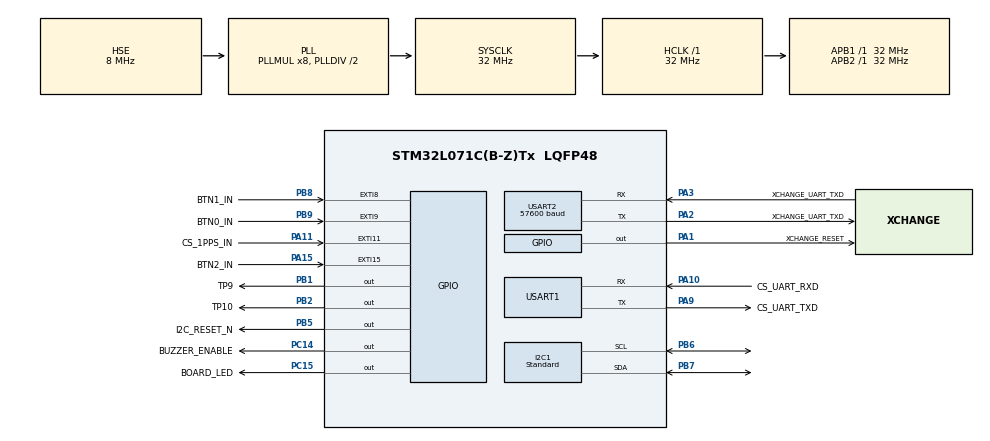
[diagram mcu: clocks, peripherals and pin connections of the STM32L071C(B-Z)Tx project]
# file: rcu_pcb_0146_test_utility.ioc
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FREERTOS.Queues01=ledEventQueue,32,uint32_t,0,Dynamic,NULL,NULL;serialCmdTaskRxData,128,uint32_t,0,Dynamic,NULL,NULL;serialCmdTaskTxData,512,uint32_t,0,Dynamic,NULL,NULL;serialRxEvent,128,uint32_t,0,Dynamic,NULL,NULL;serialEchoTaskRxData,32,uint32_t,0,Dynamic,NULL,NULL;serialEchoTaskTxData,32,uint32_t,0,Dynamic,NULL,NULL
FREERTOS.Tasks01=defaultTask,0,128,StartDefaultTask,Default,NULL,Dynamic,NULL,NULL;serialBufferTask,0,256,sbt_SerialBufferTask,As external,NULL,Dynamic,NULL,NULL;serialCmdTaskHandle,-2,512,sct_SerialCmdTask,As external,NULL,Dynamic,NULL,NULL;serialEchoTaskHandle,-2,256,set_SerialEchoTask,As external,NULL,Dynamic,NULL,NULL;ledTask,-3,256,led_Task,As external,NULL,Dynamic,NULL,NULL
FREERTOS.configMAX_TASK_NAME_LEN=32
FREERTOS.configTOTAL_HEAP_SIZE=12000
I2C1.I2C_Speed_Mode=I2C_Standard
I2C1.Timing=0x00707CBB
Mcu.Family=STM32L0
Mcu.Name=STM32L071C(B-Z)Tx
Mcu.Package=LQFP48
Mcu.UserConstants=MAIN_TIM3_PRESCALER,512;MAIN_TIM3_500_MS_COUNT,31250
NVIC.EXTI4_15_IRQn=true\:3\:0\:false\:false\:true\:true\:true\:true
NVIC.TIM22_IRQn=true\:0\:0\:false\:false\:true\:false\:false\:true
NVIC.TIM3_IRQn=true\:3\:0\:false\:false\:true\:true\:true\:true
NVIC.TimeBase=TIM22_IRQn
NVIC.TimeBaseIP=TIM22
NVIC.USART1_IRQn=true\:3\:0\:false\:false\:true\:true\:true\:true
NVIC.USART2_IRQn=true\:3\:0\:false\:false\:true\:true\:true\:true
PA1.GPIO_Label=XCHANGE_RESET
PA1.Signal=GPIO_Output
PA10.GPIO_Label=CS_UART_RXD
PA10.Mode=Asynchronous
PA10.Signal=USART1_RX
PA11.GPIO_Label=CS_1PPS_IN
PA11.Signal=GPXTI11
PA13.Mode=Serial_Wire
PA13.Signal=SYS_SWDIO
PA14.Mode=Serial_Wire
PA14.Signal=SYS_SWCLK
PA15.GPIO_Label=BTN2_IN
PA15.GPIO_ModeDefaultEXTI=GPIO_MODE_IT_FALLING
PA15.Signal=GPXTI15
PA2.GPIO_Label=XCHANGE_UART_TXD
PA2.Mode=Asynchronous
PA2.Signal=USART2_TX
PA3.GPIO_Label=XCHANGE_UART_TXD
PA3.Mode=Asynchronous
PA3.Signal=USART2_RX
PA9.GPIO_Label=CS_UART_TXD
PA9.Mode=Asynchronous
PA9.Signal=USART1_TX
PB1.GPIO_Label=TP9
PB1.Signal=GPIO_Output
PB2.GPIO_Label=TP10
PB2.Signal=GPIO_Output
PB5.GPIO_Label=I2C_RESET_N
PB5.PinState=GPIO_PIN_RESET
PB5.Signal=GPIO_Output
PB6.GPIO_PuPdOD=GPIO_NOPULL
PB6.Mode=I2C
PB6.Signal=I2C1_SCL
PB7.GPIO_PuPdOD=GPIO_NOPULL
PB7.Mode=I2C
PB7.Signal=I2C1_SDA
PB8.GPIO_Label=BTN1_IN
PB8.GPIO_ModeDefaultEXTI=GPIO_MODE_IT_FALLING
PB8.Signal=GPXTI8
PB9.GPIO_Label=BTN0_IN
PB9.GPIO_ModeDefaultEXTI=GPIO_MODE_IT_FALLING
PB9.Signal=GPXTI9
PC14-OSC32_IN.GPIO_Label=BUZZER_ENABLE
PC14-OSC32_IN.Signal=GPIO_Output
PC15-OSC32_OUT.GPIO_Label=BOARD_LED
PC15-OSC32_OUT.Signal=GPIO_Output
PH0-OSC_IN.Mode=HSE-External-Clock-Source
PH0-OSC_IN.Signal=RCC_OSC_IN
ProjectManager.HeapSize=0x200
ProjectManager.StackSize=0x400
ProjectManager.TargetToolchain=STM32CubeIDE
RCC.AHBFreq_Value=32000000
RCC.APB1Freq_Value=32000000
RCC.APB1TimFreq_Value=32000000
RCC.APB2Freq_Value=32000000
RCC.APB2TimFreq_Value=32000000
RCC.HCLKFreq_Value=32000000
RCC.HSE_VALUE=8000000
RCC.HSI16_VALUE=16000000
RCC.HSI_VALUE=16000000
RCC.LSE_VALUE=32768
RCC.MSI_VALUE=2097000
RCC.PLLMUL=RCC_PLLMUL_8
RCC.PLLSourceVirtual=RCC_PLLSOURCE_HSE
RCC.SYSCLKFreq_VALUE=32000000
RCC.SYSCLKSource=RCC_SYSCLKSOURCE_PLLCLK
RCC.VCOOutputFreq_Value=64000000
TIM3.AutoReloadPreload=TIM_AUTORELOAD_PRELOAD_ENABLE
TIM3.Period=MAIN_TIM3_500_MS_COUNT
TIM3.Prescaler=MAIN_TIM3_PRESCALER
USART1.VirtualMode-Asynchronous=VM_ASYNC
USART2.BaudRate=57600
USART2.VirtualMode-Asynchronous=VM_ASYNC
VP_FREERTOS_VS_CMSIS_V1.Mode=CMSIS_V1
VP_SYS_VS_tim22.Mode=TIM22
VP_TIM3_VS_ClockSourceINT.Mode=Internal
board=custom

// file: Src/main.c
/* USER CODE BEGIN Header */
/**
  ******************************************************************************
  * @file           : main.c
  * @brief          : Main program body
  ******************************************************************************
  * @attention
  *
  * <h2><center>&copy; Copyright (c) 2019 STMicroelectronics.
  * All rights reserved.</center></h2>
  *
  * This software component is licensed by ST under BSD 3-Clause license,
  * the "License"; You may not use this file except in compliance with the
  * License. You may obtain a copy of the License at:
  *                        opensource.org/licenses/BSD-3-Clause
  *
  ******************************************************************************
  */
/* USER CODE END Header */

#include "main.h"
#include "cmsis_os.h"

/* USER CODE BEGIN Includes */
#include "serial_buffer_task.h"
#include "serial_cmd_task.h"
#include "serial_echo_task.h"
#include "led_task.h"
/* USER CODE END Includes */

I2C_HandleTypeDef hi2c1;

TIM_HandleTypeDef htim3;

UART_HandleTypeDef huart1;
UART_HandleTypeDef huart2;

osThreadId defaultTaskHandle;
osThreadId serialBufferTaskHandle;
osThreadId serialCmdTaskHandleHandle;
osThreadId serialEchoTaskHandleHandle;
osThreadId ledTaskHandle;
osMessageQId ledEventQueueHandle;
osMessageQId serialCmdTaskRxDataHandle;
osMessageQId serialCmdTaskTxDataHandle;
osMessageQId serialRxEventHandle;
osMessageQId serialEchoTaskRxDataHandle;
osMessageQId serialEchoTaskTxDataHandle;

void SystemClock_Config(void);
static void MX_GPIO_Init(void);
static void MX_I2C1_Init(void);
static void MX_USART1_UART_Init(void);
static void MX_USART2_UART_Init(void);
static void MX_TIM3_Init(void);
void StartDefaultTask(void const * argument);
extern void sbt_SerialBufferTask(void const * argument);
extern void sct_SerialCmdTask(void const * argument);
extern void set_SerialEchoTask(void const * argument);
extern void led_Task(void const * argument);

int main(void)
{
  /* USER CODE BEGIN 1 */
	sct_Init_t sct_init_data;
	set_Init_t set_init_data;
	sbt_Init_t sbt_init_data;
	led_Init_t led_init_data;
  /* USER CODE END 1 */

  /* MCU Configuration--------------------------------------------------------*/

  /* Reset of all peripherals, Initializes the Flash interface and the Systick. */
  HAL_Init();

  /* Configure the system clock */
  SystemClock_Config();

  /* Initialize all configured peripherals */
  MX_GPIO_Init();
  MX_I2C1_Init();
  MX_USART1_UART_Init();
  MX_USART2_UART_Init();
  MX_TIM3_Init();

  /* Create the queue(s) */
  /* definition and creation of ledEventQueue */
  osMessageQDef(ledEventQueue, 32, uint32_t);
  ledEventQueueHandle = osMessageCreate(osMessageQ(ledEventQueue), NULL);

  /* definition and creation of serialCmdTaskRxData */
  osMessageQDef(serialCmdTaskRxData, 128, uint32_t);
  serialCmdTaskRxDataHandle = osMessageCreate(osMessageQ(serialCmdTaskRxData), NULL);

  /* definition and creation of serialCmdTaskTxData */
  osMessageQDef(serialCmdTaskTxData, 512, uint32_t);
  serialCmdTaskTxDataHandle = osMessageCreate(osMessageQ(serialCmdTaskTxData), NULL);

  /* definition and creation of serialRxEvent */
  osMessageQDef(serialRxEvent, 128, uint32_t);
  serialRxEventHandle = osMessageCreate(osMessageQ(serialRxEvent), NULL);

  /* definition and creation of serialEchoTaskRxData */
  osMessageQDef(serialEchoTaskRxData, 32, uint32_t);
  serialEchoTaskRxDataHandle = osMessageCreate(osMessageQ(serialEchoTaskRxData), NULL);

  /* definition and creation of serialEchoTaskTxData */
  osMessageQDef(serialEchoTaskTxData, 32, uint32_t);
  serialEchoTaskTxDataHandle = osMessageCreate(osMessageQ(serialEchoTaskTxData), NULL);

  /* Create the thread(s) */
  /* definition and creation of defaultTask */
  osThreadDef(defaultTask, StartDefaultTask, osPriorityNormal, 0, 128);
  defaultTaskHandle = osThreadCreate(osThread(defaultTask), NULL);

  /* definition and creation of serialBufferTask */
  osThreadDef(serialBufferTask, sbt_SerialBufferTask, osPriorityNormal, 0, 256);
  serialBufferTaskHandle = osThreadCreate(osThread(serialBufferTask), NULL);

  /* definition and creation of serialCmdTaskHandle */
  osThreadDef(serialCmdTaskHandle, sct_SerialCmdTask, osPriorityLow, 0, 512);
  serialCmdTaskHandleHandle = osThreadCreate(osThread(serialCmdTaskHandle), NULL);

  /* definition and creation of serialEchoTaskHandle */
  osThreadDef(serialEchoTaskHandle, set_SerialEchoTask, osPriorityLow, 0, 256);
  serialEchoTaskHandleHandle = osThreadCreate(osThread(serialEchoTaskHandle), NULL);

  /* definition and creation of ledTask */
  osThreadDef(ledTask, led_Task, osPriorityIdle, 0, 256);
  ledTaskHandle = osThreadCreate(osThread(ledTask), NULL);

  /* USER CODE BEGIN RTOS_THREADS */
  /* add threads, ... */
  sbt_init_data.rx_event_queue				= serialRxEventHandle;
  sbt_init_data.no_uarts					= 2;
  sbt_init_data.uarts[0].huart 				= &huart2;
  sbt_init_data.uarts[0].uart_rx_data_queue	= serialEchoTaskRxDataHandle;
  sbt_init_data.uarts[0].uart_tx_data_queue = serialEchoTaskTxDataHandle;
  sbt_init_data.uarts[1].huart 				= &huart1;
  sbt_init_data.uarts[1].uart_rx_data_queue	= serialCmdTaskRxDataHandle;
  sbt_init_data.uarts[1].uart_tx_data_queue	= serialCmdTaskTxDataHandle;
  sbt_InitTask(sbt_init_data);

  sct_init_data.tx_data_queue 	= serialCmdTaskTxDataHandle;
  sct_init_data.rx_data_queue 	= serialCmdTaskRxDataHandle;
  sct_init_data.i2c_device		= &hi2c1;
  sct_InitTask(sct_init_data);

  set_init_data.tx_data_queue 	= serialEchoTaskTxDataHandle;
  set_init_data.rx_data_queue 	= serialEchoTaskRxDataHandle;
  set_InitTask(set_init_data);

  led_init_data.led_event_queue	= ledEventQueueHandle;
  led_init_data.i2c_device		= &hi2c1;
  led_init_data.timer_device	= &htim3;
  led_InitTask(led_init_data);

  // add LED task initialisation

  /* USER CODE END RTOS_THREADS */

  /* Start scheduler */
  osKernelStart();

  /* We should never get here as control is now taken by the scheduler */
  /* Infinite loop */
  while (1)
  {

  }
}

void SystemClock_Config(void)
{
  RCC_OscInitTypeDef RCC_OscInitStruct = {0};
  RCC_ClkInitTypeDef RCC_ClkInitStruct = {0};
  RCC_PeriphCLKInitTypeDef PeriphClkInit = {0};

  /** Configure the main internal regulator output voltage
  */
  __HAL_PWR_VOLTAGESCALING_CONFIG(PWR_REGULATOR_VOLTAGE_SCALE1);
  /** Initializes the CPU, AHB and APB busses clocks
  */
  RCC_OscInitStruct.OscillatorType = RCC_OSCILLATORTYPE_HSE;
  RCC_OscInitStruct.HSEState = RCC_HSE_BYPASS;
  RCC_OscInitStruct.PLL.PLLState = RCC_PLL_ON;
  RCC_OscInitStruct.PLL.PLLSource = RCC_PLLSOURCE_HSE;
  RCC_OscInitStruct.PLL.PLLMUL = RCC_PLLMUL_8;
  RCC_OscInitStruct.PLL.PLLDIV = RCC_PLLDIV_2;
  if (HAL_RCC_OscConfig(&RCC_OscInitStruct) != HAL_OK)
  {
    Error_Handler();
  }
  /** Initializes the CPU, AHB and APB busses clocks
  */
  RCC_ClkInitStruct.ClockType = RCC_CLOCKTYPE_HCLK|RCC_CLOCKTYPE_SYSCLK
                              |RCC_CLOCKTYPE_PCLK1|RCC_CLOCKTYPE_PCLK2;
  RCC_ClkInitStruct.SYSCLKSource = RCC_SYSCLKSOURCE_PLLCLK;
  RCC_ClkInitStruct.AHBCLKDivider = RCC_SYSCLK_DIV1;
  RCC_ClkInitStruct.APB1CLKDivider = RCC_HCLK_DIV1;
  RCC_ClkInitStruct.APB2CLKDivider = RCC_HCLK_DIV1;

  if (HAL_RCC_ClockConfig(&RCC_ClkInitStruct, FLASH_LATENCY_1) != HAL_OK)
  {
    Error_Handler();
  }
  PeriphClkInit.PeriphClockSelection = RCC_PERIPHCLK_USART1|RCC_PERIPHCLK_USART2
                              |RCC_PERIPHCLK_I2C1;
  PeriphClkInit.Usart1ClockSelection = RCC_USART1CLKSOURCE_PCLK2;
  PeriphClkInit.Usart2ClockSelection = RCC_USART2CLKSOURCE_PCLK1;
  PeriphClkInit.I2c1ClockSelection = RCC_I2C1CLKSOURCE_PCLK1;
  if (HAL_RCCEx_PeriphCLKConfig(&PeriphClkInit) != HAL_OK)
  {
    Error_Handler();
  }
}

static void MX_I2C1_Init(void)
{

  hi2c1.Instance = I2C1;
  hi2c1.Init.Timing = 0x00707CBB;
  hi2c1.Init.OwnAddress1 = 0;
  hi2c1.Init.AddressingMode = I2C_ADDRESSINGMODE_7BIT;
  hi2c1.Init.DualAddressMode = I2C_DUALADDRESS_DISABLE;
  hi2c1.Init.OwnAddress2 = 0;
  hi2c1.Init.OwnAddress2Masks = I2C_OA2_NOMASK;
  hi2c1.Init.GeneralCallMode = I2C_GENERALCALL_DISABLE;
  hi2c1.Init.NoStretchMode = I2C_NOSTRETCH_DISABLE;
  if (HAL_I2C_Init(&hi2c1) != HAL_OK)
  {
    Error_Handler();
  }
  /** Configure Analogue filter
  */
  if (HAL_I2CEx_ConfigAnalogFilter(&hi2c1, I2C_ANALOGFILTER_ENABLE) != HAL_OK)
  {
    Error_Handler();
  }
  /** Configure Digital filter
  */
  if (HAL_I2CEx_ConfigDigitalFilter(&hi2c1, 0) != HAL_OK)
  {
    Error_Handler();
  }

}

static void MX_TIM3_Init(void)
{

  TIM_ClockConfigTypeDef sClockSourceConfig = {0};
  TIM_MasterConfigTypeDef sMasterConfig = {0};

  htim3.Instance = TIM3;
  htim3.Init.Prescaler = MAIN_TIM3_PRESCALER;
  htim3.Init.CounterMode = TIM_COUNTERMODE_UP;
  htim3.Init.Period = MAIN_TIM3_500_MS_COUNT;
  htim3.Init.ClockDivision = TIM_CLOCKDIVISION_DIV1;
  htim3.Init.AutoReloadPreload = TIM_AUTORELOAD_PRELOAD_ENABLE;
  if (HAL_TIM_Base_Init(&htim3) != HAL_OK)
  {
    Error_Handler();
  }
  sClockSourceConfig.ClockSource = TIM_CLOCKSOURCE_INTERNAL;
  if (HAL_TIM_ConfigClockSource(&htim3, &sClockSourceConfig) != HAL_OK)
  {
    Error_Handler();
  }
  sMasterConfig.MasterOutputTrigger = TIM_TRGO_RESET;
  sMasterConfig.MasterSlaveMode = TIM_MASTERSLAVEMODE_DISABLE;
  if (HAL_TIMEx_MasterConfigSynchronization(&htim3, &sMasterConfig) != HAL_OK)
  {
    Error_Handler();
  }

}

static void MX_USART1_UART_Init(void)
{

  huart1.Instance = USART1;
  huart1.Init.BaudRate = 115200;
  huart1.Init.WordLength = UART_WORDLENGTH_8B;
  huart1.Init.StopBits = UART_STOPBITS_1;
  huart1.Init.Parity = UART_PARITY_NONE;
  huart1.Init.Mode = UART_MODE_TX_RX;
  huart1.Init.HwFlowCtl = UART_HWCONTROL_NONE;
  huart1.Init.OverSampling = UART_OVERSAMPLING_16;
  huart1.Init.OneBitSampling = UART_ONE_BIT_SAMPLE_DISABLE;
  huart1.AdvancedInit.AdvFeatureInit = UART_ADVFEATURE_NO_INIT;
  if (HAL_UART_Init(&huart1) != HAL_OK)
  {
    Error_Handler();
  }

}

static void MX_USART2_UART_Init(void)
{

  huart2.Instance = USART2;
  huart2.Init.BaudRate = 57600;
  huart2.Init.WordLength = UART_WORDLENGTH_8B;
  huart2.Init.StopBits = UART_STOPBITS_1;
  huart2.Init.Parity = UART_PARITY_NONE;
  huart2.Init.Mode = UART_MODE_TX_RX;
  huart2.Init.HwFlowCtl = UART_HWCONTROL_NONE;
  huart2.Init.OverSampling = UART_OVERSAMPLING_16;
  huart2.Init.OneBitSampling = UART_ONE_BIT_SAMPLE_DISABLE;
  huart2.AdvancedInit.AdvFeatureInit = UART_ADVFEATURE_NO_INIT;
  if (HAL_UART_Init(&huart2) != HAL_OK)
  {
    Error_Handler();
  }

}

static void MX_GPIO_Init(void)
{
  GPIO_InitTypeDef GPIO_InitStruct = {0};

  /* GPIO Ports Clock Enable */
  __HAL_RCC_GPIOC_CLK_ENABLE();
  __HAL_RCC_GPIOH_CLK_ENABLE();
  __HAL_RCC_GPIOA_CLK_ENABLE();
  __HAL_RCC_GPIOB_CLK_ENABLE();

  /*Configure GPIO pin Output Level */
  HAL_GPIO_WritePin(GPIOC, BUZZER_ENABLE_Pin|BOARD_LED_Pin, GPIO_PIN_RESET);

  /*Configure GPIO pin Output Level */
  HAL_GPIO_WritePin(XCHANGE_RESET_GPIO_Port, XCHANGE_RESET_Pin, GPIO_PIN_RESET);

  /*Configure GPIO pin Output Level */
  HAL_GPIO_WritePin(GPIOB, TP9_Pin|TP10_Pin|I2C_RESET_N_Pin, GPIO_PIN_RESET);

  /*Configure GPIO pins : BUZZER_ENABLE_Pin BOARD_LED_Pin */
  GPIO_InitStruct.Pin = BUZZER_ENABLE_Pin|BOARD_LED_Pin;
  GPIO_InitStruct.Mode = GPIO_MODE_OUTPUT_PP;
  GPIO_InitStruct.Pull = GPIO_NOPULL;
  GPIO_InitStruct.Speed = GPIO_SPEED_FREQ_LOW;
  HAL_GPIO_Init(GPIOC, &GPIO_InitStruct);

  /*Configure GPIO pin : XCHANGE_RESET_Pin */
  GPIO_InitStruct.Pin = XCHANGE_RESET_Pin;
  GPIO_InitStruct.Mode = GPIO_MODE_OUTPUT_PP;
  GPIO_InitStruct.Pull = GPIO_NOPULL;
  GPIO_InitStruct.Speed = GPIO_SPEED_FREQ_LOW;
  HAL_GPIO_Init(XCHANGE_RESET_GPIO_Port, &GPIO_InitStruct);

  /*Configure GPIO pins : TP9_Pin TP10_Pin I2C_RESET_N_Pin */
  GPIO_InitStruct.Pin = TP9_Pin|TP10_Pin|I2C_RESET_N_Pin;
  GPIO_InitStruct.Mode = GPIO_MODE_OUTPUT_PP;
  GPIO_InitStruct.Pull = GPIO_NOPULL;
  GPIO_InitStruct.Speed = GPIO_SPEED_FREQ_LOW;
  HAL_GPIO_Init(GPIOB, &GPIO_InitStruct);

  /*Configure GPIO pin : CS_1PPS_IN_Pin */
  GPIO_InitStruct.Pin = CS_1PPS_IN_Pin;
  GPIO_InitStruct.Mode = GPIO_MODE_IT_RISING;
  GPIO_InitStruct.Pull = GPIO_NOPULL;
  HAL_GPIO_Init(CS_1PPS_IN_GPIO_Port, &GPIO_InitStruct);

  /*Configure GPIO pin : BTN2_IN_Pin */
  GPIO_InitStruct.Pin = BTN2_IN_Pin;
  GPIO_InitStruct.Mode = GPIO_MODE_IT_FALLING;
  GPIO_InitStruct.Pull = GPIO_NOPULL;
  HAL_GPIO_Init(BTN2_IN_GPIO_Port, &GPIO_InitStruct);

  /*Configure GPIO pins : BTN1_IN_Pin BTN0_IN_Pin */
  GPIO_InitStruct.Pin = BTN1_IN_Pin|BTN0_IN_Pin;
  GPIO_InitStruct.Mode = GPIO_MODE_IT_FALLING;
  GPIO_InitStruct.Pull = GPIO_NOPULL;
  HAL_GPIO_Init(GPIOB, &GPIO_InitStruct);

  /* EXTI interrupt init*/
  HAL_NVIC_SetPriority(EXTI4_15_IRQn, 3, 0);
  HAL_NVIC_EnableIRQ(EXTI4_15_IRQn);

}

void StartDefaultTask(void const * argument)
{
  /* USER CODE BEGIN 5 */
  /* Infinite loop */
  for(;;)
  {
    osDelay(1000);
    HAL_GPIO_TogglePin(BOARD_LED_GPIO_Port, BOARD_LED_Pin);
  }
  /* USER CODE END 5 */
}

 /**
  * @brief  Period elapsed callback in non blocking mode
  * @note   This function is called  when TIM22 interrupt took place, inside
  * HAL_TIM_IRQHandler(). It makes a direct call to HAL_IncTick() to increment
  * a global variable "uwTick" used as application time base.
  * @param  htim : TIM handle
  * @retval None
  */
void HAL_TIM_PeriodElapsedCallback(TIM_HandleTypeDef *htim)
{
  if (htim->Instance == TIM22) {
    HAL_IncTick();
  }
  /* USER CODE BEGIN Callback 1 */
  if (htim->Instance == TIM3)
  {
	led_PostUpdateEvent();
  }
  /* USER CODE END Callback 1 */
}

void Error_Handler(void)
{
}

/************************ (C) COPYRIGHT STMicroelectronics *****END OF FILE****/
